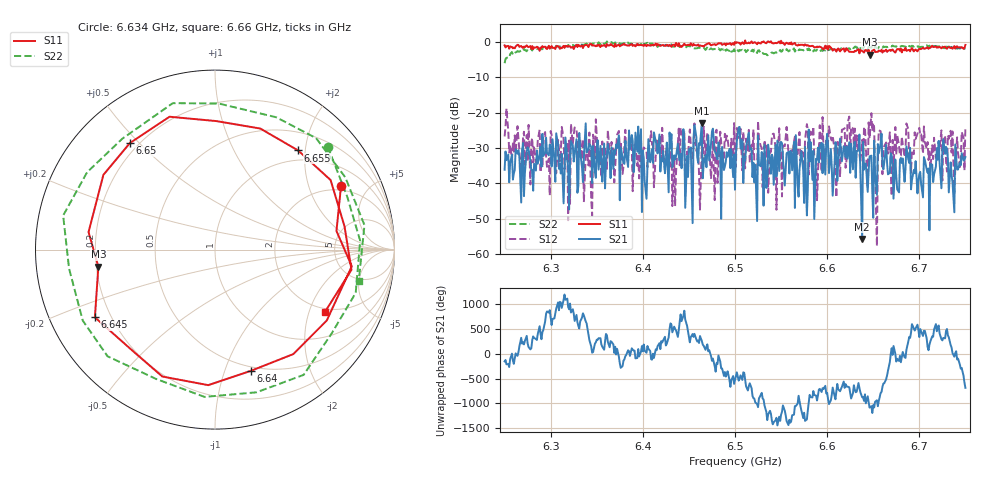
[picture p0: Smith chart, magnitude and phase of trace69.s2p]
# Hz S RI R 50
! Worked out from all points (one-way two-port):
!   401 points, 6.25 GHz to 6.75 GHz, reference 50 ohm
!   highest |S21| = -22.95 dB at 6.464 GHz (marker M1); lowest = -55.7 dB at 6.638 GHz (marker M2)
!   lowest |S11| = -3.7 dB at 6.646 GHz (marker M3), VSWR 4.83, Z = 10.4 - j3.48 ohm
!   |S11| at or under -10 dB: nowhere
!   |S22| runs from -6.1 to 0.1 dB; largest |S21 - S12| = 0.14
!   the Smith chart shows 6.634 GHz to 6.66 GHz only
!   S11 on the Smith chart (normalised r, x): 6.634 GHz: 1.80, +3.31; 6.64 GHz: 0.46, -1.23; 6.645 GHz: 0.14, -0.26; 6.65 GHz: 0.17, +0.47; 6.655 GHz: 0.81, +1.86; 6.66 GHz: 1.86, -2.56
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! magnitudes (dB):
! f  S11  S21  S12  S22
! 6.25 GHz  -1.0  -36.2  -26.8  -6.1
! 6.334 GHz  -1.0  -35.5  -33.2  -0.8
! 6.401 GHz  -1.2  -33.0  -29.9  -0.5
! 6.418 GHz  -1.1  -26.2  -29.4  -0.8
! 6.464 GHz  -1.2  -23.0  -28.7  -1.9
! 6.5 GHz  -0.1  -41.8  -33.0  -2.7
! 6.505 GHz  -0.3  -24.1  -27.0  -2.3
! 6.521 GHz  -0.1  -39.7  -34.7  -2.2
! 6.549 GHz  -0.5  -28.4  -33.8  -2.3
! 6.584 GHz  -1.1  -39.0  -26.7  -2.1
! 6.589 GHz  -1.3  -33.4  -44.8  -2.2
! 6.625 GHz  -2.9  -37.0  -32.0  -2.1
! 6.634 GHz  -2.1  -30.7  -31.6  -1.4
! 6.638 GHz  -2.6  -55.7  -27.7  -1.7
! 6.64 GHz  -3.0  -36.1  -24.2  -1.4
! 6.645 GHz  -2.3  -36.8  -22.8  -1.5
! 6.646 GHz  -3.7  -32.4  -27.3  -1.6
! 6.65 GHz  -2.4  -49.7  -22.9  -1.6
! 6.655 GHz  -2.8  -28.9  -33.1  -1.8
! 6.66 GHz  -3.0  -34.7  -37.4  -1.7
! 6.668 GHz  -2.3  -37.0  -25.6  -1.3
! 6.75 GHz  -0.9  -32.6  -24.0  -2.0
